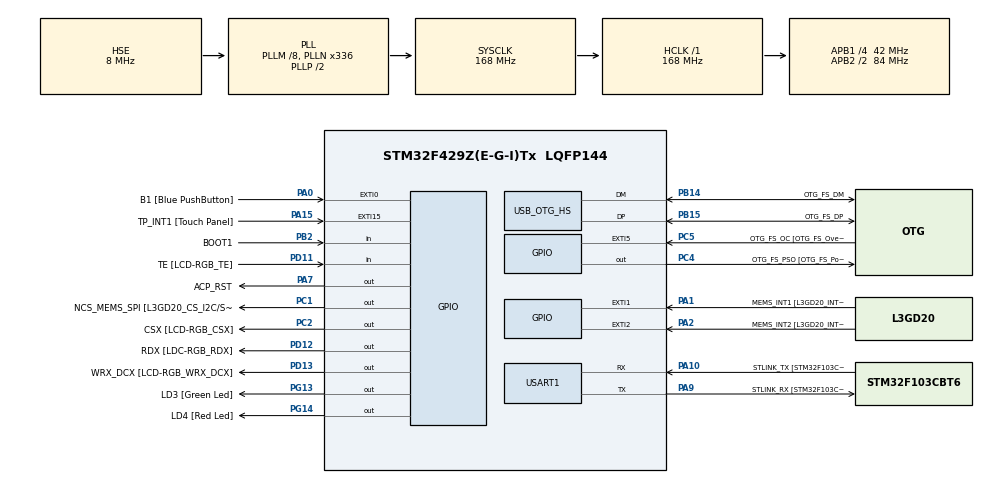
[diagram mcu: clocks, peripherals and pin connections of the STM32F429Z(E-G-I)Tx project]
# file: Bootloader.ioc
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Mcu.Family=STM32F4
Mcu.Name=STM32F429Z(E-G-I)Tx
Mcu.Package=LQFP144
NVIC.OTG_HS_IRQn=true\:0\:0\:false\:false\:true
NVIC.PriorityGroup=NVIC_PRIORITYGROUP_0
PA0/WKUP.GPIO_Label=B1 [Blue PushButton]
PA0/WKUP.GPIO_ModeDefaultEXTI=GPIO_MODE_EVT_RISING
PA0/WKUP.GPIO_PuPd=GPIO_NOPULL
PA0/WKUP.Signal=GPXTI0
PA1.GPIO_Label=MEMS_INT1 [L3GD20_INT1]
PA1.GPIO_ModeDefaultEXTI=GPIO_MODE_EVT_RISING
PA1.GPIO_PuPd=GPIO_NOPULL
PA1.Signal=GPXTI1
PA10.GPIO_Label=STLINK_TX [STM32F103CBT6_PA2]
PA10.Mode=Asynchronous
PA10.Signal=USART1_RX
PA11.GPIO_Label=R4
PA11.GPIO_Mode=GPIO_MODE_AF_PP
PA11.GPIO_PuPd=GPIO_NOPULL
PA11.GPIO_Speed=GPIO_SPEED_FREQ_LOW
PA11.Signal=LTDC_R4
PA12.GPIO_Label=R5
PA12.GPIO_Mode=GPIO_MODE_AF_PP
PA12.GPIO_PuPd=GPIO_NOPULL
PA12.GPIO_Speed=GPIO_SPEED_FREQ_LOW
PA12.Signal=LTDC_R5
PA13.GPIO_Label=SWDIO
PA13.Mode=Serial_Wire
PA13.Signal=SYS_JTMS-SWDIO
PA14.GPIO_Label=SWCLK
PA14.Mode=Serial_Wire
PA14.Signal=SYS_JTCK-SWCLK
PA15.GPIO_Label=TP_INT1 [Touch Panel]
PA15.GPIO_ModeDefaultEXTI=GPIO_MODE_EVT_RISING
PA15.GPIO_PuPd=GPIO_NOPULL
PA15.Signal=GPXTI15
PA2.GPIO_Label=MEMS_INT2 [L3GD20_INT2]
PA2.GPIO_ModeDefaultEXTI=GPIO_MODE_EVT_RISING
PA2.GPIO_PuPd=GPIO_NOPULL
PA2.Signal=GPXTI2
PA3.GPIO_Label=B5
PA3.GPIO_Mode=GPIO_MODE_AF_PP
PA3.GPIO_PuPd=GPIO_NOPULL
PA3.GPIO_Speed=GPIO_SPEED_FREQ_LOW
PA3.Signal=LTDC_B5
PA4.GPIO_Label=VSYNC
PA4.GPIO_Mode=GPIO_MODE_AF_PP
PA4.GPIO_PuPd=GPIO_NOPULL
PA4.GPIO_Speed=GPIO_SPEED_FREQ_LOW
PA4.Signal=LTDC_VSYNC
PA6.GPIO_Label=G2
PA6.GPIO_Mode=GPIO_MODE_AF_PP
PA6.GPIO_PuPd=GPIO_NOPULL
PA6.GPIO_Speed=GPIO_SPEED_FREQ_LOW
PA6.Signal=LTDC_G2
PA7.GPIO_Label=ACP_RST
PA7.GPIO_Mode=GPIO_MODE_OUTPUT_PP
PA7.GPIO_PuPd=GPIO_NOPULL
PA7.GPIO_Speed=GPIO_SPEED_FREQ_LOW
PA7.Signal=GPIO_Output
PA8.GPIO_Label=I2C3_SCL [ACP/RF_SCL]
PA8.GPIO_Mode=GPIO_MODE_AF_OD
PA8.GPIO_PuPd=GPIO_NOPULL
PA8.GPIO_Speed=GPIO_SPEED_FREQ_LOW
PA8.Signal=I2C3_SCL
PA9.GPIO_Label=STLINK_RX [STM32F103CBT6_PA3]
PA9.Mode=Asynchronous
PA9.Signal=USART1_TX
PB0.GPIO_Label=R3
PB0.GPIO_Mode=GPIO_MODE_AF_PP
PB0.GPIO_PuPd=GPIO_NOPULL
PB0.GPIO_Speed=GPIO_SPEED_FREQ_LOW
PB0.Signal=LTDC_R3
PB1.GPIO_Label=R6
PB1.GPIO_Mode=GPIO_MODE_AF_PP
PB1.GPIO_PuPd=GPIO_NOPULL
PB1.GPIO_Speed=GPIO_SPEED_FREQ_LOW
PB1.Signal=LTDC_R6
PB10.GPIO_Label=G4
PB10.GPIO_Mode=GPIO_MODE_AF_PP
PB10.GPIO_PuPd=GPIO_NOPULL
PB10.GPIO_Speed=GPIO_SPEED_FREQ_LOW
PB10.Signal=LTDC_G4
PB11.GPIO_Label=G5
PB11.GPIO_Mode=GPIO_MODE_AF_PP
PB11.GPIO_PuPd=GPIO_NOPULL
PB11.GPIO_Speed=GPIO_SPEED_FREQ_LOW
PB11.Signal=LTDC_G5
PB12.GPIO_Label=OTG_FS_ID
PB12.GPIO_Mode=GPIO_MODE_AF_PP
PB12.GPIO_PuPd=GPIO_NOPULL
PB12.GPIO_Speed=GPIO_SPEED_FREQ_LOW
PB12.Signal=USB_OTG_HS_ID
PB13.GPIO_Label=VBUS_FS
PB13.GPIO_Mode=GPIO_MODE_INPUT
PB13.GPIO_PuPd=GPIO_NOPULL
PB13.Signal=USB_OTG_HS_VBUS
PB14.GPIO_Label=OTG_FS_DM
PB14.GPIO_Mode=GPIO_MODE_AF_PP
PB14.GPIO_PuPd=GPIO_NOPULL
PB14.GPIO_Speed=GPIO_SPEED_FREQ_LOW
PB14.Mode=Host_FS
PB14.Signal=USB_OTG_HS_DM
PB15.GPIO_Label=OTG_FS_DP
PB15.GPIO_Mode=GPIO_MODE_AF_PP
PB15.GPIO_PuPd=GPIO_NOPULL
PB15.GPIO_Speed=GPIO_SPEED_FREQ_LOW
PB15.Mode=Host_FS
PB15.Signal=USB_OTG_HS_DP
PB2/BOOT1.GPIO_Label=BOOT1
PB2/BOOT1.GPIO_Mode=GPIO_MODE_INPUT
PB2/BOOT1.GPIO_PuPd=GPIO_NOPULL
PB2/BOOT1.Signal=GPIO_Input
PB5.GPIO_Label=SDCKE1
PB5.GPIO_Mode=GPIO_MODE_AF_PP
PB5.GPIO_PuPd=GPIO_NOPULL
PB5.GPIO_Speed=GPIO_SPEED_FREQ_VERY_HIGH
PB5.Signal=FMC_SDCKE1
PB6.GPIO_Label=SDNE1 [SDRAM_CS]
PB6.GPIO_Mode=GPIO_MODE_AF_PP
PB6.GPIO_PuPd=GPIO_NOPULL
PB6.GPIO_Speed=GPIO_SPEED_FREQ_VERY_HIGH
PB6.Signal=FMC_SDNE1
PB8.GPIO_Label=B6
PB8.GPIO_Mode=GPIO_MODE_AF_PP
PB8.GPIO_PuPd=GPIO_NOPULL
PB8.GPIO_Speed=GPIO_SPEED_FREQ_LOW
PB8.Signal=LTDC_B6
PB9.GPIO_Label=B7
PB9.GPIO_Mode=GPIO_MODE_AF_PP
PB9.GPIO_PuPd=GPIO_NOPULL
PB9.GPIO_Speed=GPIO_SPEED_FREQ_LOW
PB9.Signal=LTDC_B7
PC0.GPIO_Label=SDNWE
PC0.GPIO_Mode=GPIO_MODE_AF_PP
PC0.GPIO_PuPd=GPIO_NOPULL
PC0.GPIO_Speed=GPIO_SPEED_FREQ_VERY_HIGH
PC0.Signal=FMC_SDNWE
PC1.GPIO_Label=NCS_MEMS_SPI [L3GD20_CS_I2C/SPI]
PC1.GPIO_Mode=GPIO_MODE_OUTPUT_PP
PC1.GPIO_PuPd=GPIO_NOPULL
PC1.GPIO_Speed=GPIO_SPEED_FREQ_LOW
PC1.Signal=GPIO_Output
PC10.GPIO_Label=R2
PC10.GPIO_Mode=GPIO_MODE_AF_PP
PC10.GPIO_PuPd=GPIO_NOPULL
PC10.GPIO_Speed=GPIO_SPEED_FREQ_LOW
PC10.Signal=LTDC_R2
PC14/OSC32_IN.GPIO_Label=PC14-OSC32_IN
PC14/OSC32_IN.Signal=RCC_OSC32_IN
PC15/OSC32_OUT.GPIO_Label=PC15-OSC32_OUT
PC15/OSC32_OUT.Signal=RCC_OSC32_OUT
PC2.GPIO_Label=CSX [LCD-RGB_CSX]
PC2.GPIO_Mode=GPIO_MODE_OUTPUT_PP
PC2.GPIO_PuPd=GPIO_NOPULL
PC2.GPIO_Speed=GPIO_SPEED_FREQ_LOW
PC2.Signal=GPIO_Output
PC4.GPIO_Label=OTG_FS_PSO [OTG_FS_PowerSwitchOn]
PC4.GPIO_Mode=GPIO_MODE_OUTPUT_PP
PC4.GPIO_PuPd=GPIO_NOPULL
PC4.GPIO_Speed=GPIO_SPEED_FREQ_LOW
PC4.Signal=GPIO_Output
PC5.GPIO_Label=OTG_FS_OC [OTG_FS_OverCurrent]
PC5.GPIO_ModeDefaultEXTI=GPIO_MODE_EVT_RISING
PC5.Signal=GPXTI5
PC6.GPIO_Label=HSYNC
PC6.GPIO_Mode=GPIO_MODE_AF_PP
PC6.GPIO_PuPd=GPIO_NOPULL
PC6.GPIO_Speed=GPIO_SPEED_FREQ_LOW
PC6.Signal=LTDC_HSYNC
PC7.GPIO_Label=G6
PC7.GPIO_Mode=GPIO_MODE_AF_PP
PC7.GPIO_PuPd=GPIO_NOPULL
PC7.GPIO_Speed=GPIO_SPEED_FREQ_LOW
PC7.Signal=LTDC_G6
PC9.GPIO_Label=I2C3_SDA [ACP/RF_SDA]
PC9.GPIO_Mode=GPIO_MODE_AF_OD
PC9.GPIO_PuPd=GPIO_NOPULL
PC9.GPIO_Speed=GPIO_SPEED_FREQ_LOW
PC9.Signal=I2C3_SDA
PD0.GPIO_Label=D2
PD0.GPIO_Mode=GPIO_MODE_AF_PP
PD0.GPIO_PuPd=GPIO_NOPULL
PD0.GPIO_Speed=GPIO_SPEED_FREQ_VERY_HIGH
PD0.Signal=FMC_D2_DA2
PD1.GPIO_Label=D3
PD1.GPIO_Mode=GPIO_MODE_AF_PP
PD1.GPIO_PuPd=GPIO_NOPULL
PD1.GPIO_Speed=GPIO_SPEED_FREQ_VERY_HIGH
PD1.Signal=FMC_D3_DA3
PD10.GPIO_Label=D15
PD10.GPIO_Mode=GPIO_MODE_AF_PP
PD10.GPIO_PuPd=GPIO_NOPULL
PD10.GPIO_Speed=GPIO_SPEED_FREQ_VERY_HIGH
PD10.Signal=FMC_D15_DA15
PD11.GPIO_Label=TE [LCD-RGB_TE]
PD11.GPIO_Mode=GPIO_MODE_INPUT
PD11.GPIO_PuPd=GPIO_NOPULL
PD11.Signal=GPIO_Input
PD12.GPIO_Label=RDX [LDC-RGB_RDX]
PD12.GPIO_Mode=GPIO_MODE_OUTPUT_PP
PD12.GPIO_PuPd=GPIO_NOPULL
PD12.GPIO_Speed=GPIO_SPEED_FREQ_LOW
PD12.Signal=GPIO_Output
PD13.GPIO_Label=WRX_DCX [LCD-RGB_WRX_DCX]
PD13.GPIO_Mode=GPIO_MODE_OUTPUT_PP
PD13.GPIO_PuPd=GPIO_NOPULL
PD13.GPIO_Speed=GPIO_SPEED_FREQ_LOW
PD13.Signal=GPIO_Output
PD14.GPIO_Label=D0
PD14.GPIO_Mode=GPIO_MODE_AF_PP
PD14.GPIO_PuPd=GPIO_NOPULL
PD14.GPIO_Speed=GPIO_SPEED_FREQ_VERY_HIGH
PD14.Signal=FMC_D0_DA0
PD15.GPIO_Label=D1
PD15.GPIO_Mode=GPIO_MODE_AF_PP
PD15.GPIO_PuPd=GPIO_NOPULL
PD15.GPIO_Speed=GPIO_SPEED_FREQ_VERY_HIGH
PD15.Signal=FMC_D1_DA1
PD3.GPIO_Label=G7
PD3.GPIO_Mode=GPIO_MODE_AF_PP
PD3.GPIO_PuPd=GPIO_NOPULL
PD3.GPIO_Speed=GPIO_SPEED_FREQ_LOW
PD3.Signal=LTDC_G7
PD6.GPIO_Label=B2
PD6.GPIO_Mode=GPIO_MODE_AF_PP
PD6.GPIO_PuPd=GPIO_NOPULL
PD6.GPIO_Speed=GPIO_SPEED_FREQ_LOW
PD6.Signal=LTDC_B2
PD8.GPIO_Label=D13
PD8.GPIO_Mode=GPIO_MODE_AF_PP
PD8.GPIO_PuPd=GPIO_NOPULL
PD8.GPIO_Speed=GPIO_SPEED_FREQ_VERY_HIGH
PD8.Signal=FMC_D13_DA13
PD9.GPIO_Label=D14
PD9.GPIO_Mode=GPIO_MODE_AF_PP
PD9.GPIO_PuPd=GPIO_NOPULL
PD9.GPIO_Speed=GPIO_SPEED_FREQ_VERY_HIGH
PD9.Signal=FMC_D14_DA14
PE0.GPIO_Label=NBL0 [SDRAM_LDQM]
PE0.GPIO_Mode=GPIO_MODE_AF_PP
PE0.GPIO_PuPd=GPIO_NOPULL
PE0.GPIO_Speed=GPIO_SPEED_FREQ_VERY_HIGH
PE0.Signal=FMC_NBL0
PE1.GPIO_Label=NBL1 [SDRAM_UDQM]
PE1.GPIO_Mode=GPIO_MODE_AF_PP
PE1.GPIO_PuPd=GPIO_NOPULL
PE1.GPIO_Speed=GPIO_SPEED_FREQ_VERY_HIGH
PE1.Signal=FMC_NBL1
PE10.GPIO_Label=D7
PE10.GPIO_Mode=GPIO_MODE_AF_PP
PE10.GPIO_PuPd=GPIO_NOPULL
PE10.GPIO_Speed=GPIO_SPEED_FREQ_VERY_HIGH
PE10.Signal=FMC_D7_DA7
PE11.GPIO_Label=D8
PE11.GPIO_Mode=GPIO_MODE_AF_PP
PE11.GPIO_PuPd=GPIO_NOPULL
PE11.GPIO_Speed=GPIO_SPEED_FREQ_VERY_HIGH
PE11.Signal=FMC_D8_DA8
PE12.GPIO_Label=D9
PE12.GPIO_Mode=GPIO_MODE_AF_PP
PE12.GPIO_PuPd=GPIO_NOPULL
PE12.GPIO_Speed=GPIO_SPEED_FREQ_VERY_HIGH
PE12.Signal=FMC_D9_DA9
PE13.GPIO_Label=D10
PE13.GPIO_Mode=GPIO_MODE_AF_PP
PE13.GPIO_PuPd=GPIO_NOPULL
PE13.GPIO_Speed=GPIO_SPEED_FREQ_VERY_HIGH
PE13.Signal=FMC_D10_DA10
PE14.GPIO_Label=D11
PE14.GPIO_Mode=GPIO_MODE_AF_PP
PE14.GPIO_PuPd=GPIO_NOPULL
PE14.GPIO_Speed=GPIO_SPEED_FREQ_VERY_HIGH
PE14.Signal=FMC_D11_DA11
PE15.GPIO_Label=D12
PE15.GPIO_Mode=GPIO_MODE_AF_PP
PE15.GPIO_PuPd=GPIO_NOPULL
PE15.GPIO_Speed=GPIO_SPEED_FREQ_VERY_HIGH
PE15.Signal=FMC_D12_DA12
PE7.GPIO_Label=D4
PE7.GPIO_Mode=GPIO_MODE_AF_PP
PE7.GPIO_PuPd=GPIO_NOPULL
PE7.GPIO_Speed=GPIO_SPEED_FREQ_VERY_HIGH
PE7.Signal=FMC_D4_DA4
PE8.GPIO_Label=D5
PE8.GPIO_Mode=GPIO_MODE_AF_PP
PE8.GPIO_PuPd=GPIO_NOPULL
PE8.GPIO_Speed=GPIO_SPEED_FREQ_VERY_HIGH
PE8.Signal=FMC_D5_DA5
PE9.GPIO_Label=D6
PE9.GPIO_Mode=GPIO_MODE_AF_PP
PE9.GPIO_PuPd=GPIO_NOPULL
PE9.GPIO_Speed=GPIO_SPEED_FREQ_VERY_HIGH
PE9.Signal=FMC_D6_DA6
PF0.GPIO_Label=A0
PF0.GPIO_Mode=GPIO_MODE_AF_PP
PF0.GPIO_PuPd=GPIO_NOPULL
PF0.GPIO_Speed=GPIO_SPEED_FREQ_VERY_HIGH
PF0.Signal=FMC_A0
PF1.GPIO_Label=A1
PF1.GPIO_Mode=GPIO_MODE_AF_PP
PF1.GPIO_PuPd=GPIO_NOPULL
PF1.GPIO_Speed=GPIO_SPEED_FREQ_VERY_HIGH
PF1.Signal=FMC_A1
PF10.GPIO_Label=ENABLE [LCD-RGB_ENABLE]
PF10.GPIO_Mode=GPIO_MODE_AF_PP
PF10.GPIO_PuPd=GPIO_NOPULL
PF10.GPIO_Speed=GPIO_SPEED_FREQ_LOW
PF10.Signal=LTDC_DE
PF11.GPIO_Label=SDNRAS
PF11.GPIO_Mode=GPIO_MODE_AF_PP
PF11.GPIO_PuPd=GPIO_NOPULL
PF11.GPIO_Speed=GPIO_SPEED_FREQ_VERY_HIGH
PF11.Signal=FMC_SDNRAS
PF12.GPIO_Label=A6
PF12.GPIO_Mode=GPIO_MODE_AF_PP
PF12.GPIO_PuPd=GPIO_NOPULL
PF12.GPIO_Speed=GPIO_SPEED_FREQ_VERY_HIGH
PF12.Signal=FMC_A6
PF13.GPIO_Label=A7
PF13.GPIO_Mode=GPIO_MODE_AF_PP
PF13.GPIO_PuPd=GPIO_NOPULL
PF13.GPIO_Speed=GPIO_SPEED_FREQ_VERY_HIGH
PF13.Signal=FMC_A7
PF14.GPIO_Label=A8
PF14.GPIO_Mode=GPIO_MODE_AF_PP
PF14.GPIO_PuPd=GPIO_NOPULL
PF14.GPIO_Speed=GPIO_SPEED_FREQ_VERY_HIGH
PF14.Signal=FMC_A8
PF15.GPIO_Label=A9
PF15.GPIO_Mode=GPIO_MODE_AF_PP
PF15.GPIO_PuPd=GPIO_NOPULL
PF15.GPIO_Speed=GPIO_SPEED_FREQ_VERY_HIGH
PF15.Signal=FMC_A9
PF2.GPIO_Label=A2
PF2.GPIO_Mode=GPIO_MODE_AF_PP
PF2.GPIO_PuPd=GPIO_NOPULL
PF2.GPIO_Speed=GPIO_SPEED_FREQ_VERY_HIGH
PF2.Signal=FMC_A2
PF3.GPIO_Label=A3
PF3.GPIO_Mode=GPIO_MODE_AF_PP
PF3.GPIO_PuPd=GPIO_NOPULL
PF3.GPIO_Speed=GPIO_SPEED_FREQ_VERY_HIGH
PF3.Signal=FMC_A3
PF4.GPIO_Label=A4
PF4.GPIO_Mode=GPIO_MODE_AF_PP
PF4.GPIO_PuPd=GPIO_NOPULL
PF4.GPIO_Speed=GPIO_SPEED_FREQ_VERY_HIGH
PF4.Signal=FMC_A4
PF5.GPIO_Label=A5
PF5.GPIO_Mode=GPIO_MODE_AF_PP
PF5.GPIO_PuPd=GPIO_NOPULL
PF5.GPIO_Speed=GPIO_SPEED_FREQ_VERY_HIGH
PF5.Signal=FMC_A5
PF7.GPIO_Label=SPI5_SCK [L3GD20_SCL/SPC]
PF7.GPIO_Mode=GPIO_MODE_AF_PP
PF7.GPIO_PuPd=GPIO_NOPULL
PF7.GPIO_Speed=GPIO_SPEED_FREQ_LOW
PF7.Signal=SPI5_SCK
PF8.GPIO_Label=SPI5_MISO [L3GD20_SDO]
PF8.GPIO_Mode=GPIO_MODE_AF_PP
PF8.GPIO_PuPd=GPIO_NOPULL
PF8.GPIO_Speed=GPIO_SPEED_FREQ_LOW
PF8.Signal=SPI5_MISO
PF9.GPIO_Label=SPI5_MOSI [L3GD20_SDA/SDI/SDO]
PF9.GPIO_Mode=GPIO_MODE_AF_PP
PF9.GPIO_PuPd=GPIO_NOPULL
PF9.GPIO_Speed=GPIO_SPEED_FREQ_LOW
PF9.Signal=SPI5_MOSI
PG0.GPIO_Label=A10
PG0.GPIO_Mode=GPIO_MODE_AF_PP
PG0.GPIO_PuPd=GPIO_NOPULL
PG0.GPIO_Speed=GPIO_SPEED_FREQ_VERY_HIGH
PG0.Signal=FMC_A10
PG1.GPIO_Label=A11
PG1.GPIO_Mode=GPIO_MODE_AF_PP
PG1.GPIO_PuPd=GPIO_NOPULL
PG1.GPIO_Speed=GPIO_SPEED_FREQ_VERY_HIGH
PG1.Signal=FMC_A11
PG10.GPIO_Label=G3
PG10.GPIO_Mode=GPIO_MODE_AF_PP
PG10.GPIO_PuPd=GPIO_NOPULL
PG10.GPIO_Speed=GPIO_SPEED_FREQ_LOW
PG10.Signal=LTDC_G3
PG11.GPIO_Label=B3
PG11.GPIO_Mode=GPIO_MODE_AF_PP
PG11.GPIO_PuPd=GPIO_NOPULL
PG11.GPIO_Speed=GPIO_SPEED_FREQ_LOW
PG11.Signal=LTDC_B3
PG12.GPIO_Label=B4
PG12.GPIO_Mode=GPIO_MODE_AF_PP
PG12.GPIO_PuPd=GPIO_NOPULL
PG12.GPIO_Speed=GPIO_SPEED_FREQ_LOW
PG12.Signal=LTDC_B4
PG13.GPIO_Label=LD3 [Green Led]
PG13.GPIO_Mode=GPIO_MODE_OUTPUT_PP
PG13.GPIO_PuPd=GPIO_NOPULL
PG13.GPIO_Speed=GPIO_SPEED_FREQ_LOW
PG13.Signal=GPIO_Output
PG14.GPIO_Label=LD4 [Red Led]
PG14.GPIO_Mode=GPIO_MODE_OUTPUT_PP
PG14.GPIO_PuPd=GPIO_NOPULL
PG14.GPIO_Speed=GPIO_SPEED_FREQ_LOW
PG14.Signal=GPIO_Output
PG15.GPIO_Label=SDNCAS
PG15.GPIO_Mode=GPIO_MODE_AF_PP
PG15.GPIO_PuPd=GPIO_NOPULL
PG15.GPIO_Speed=GPIO_SPEED_FREQ_VERY_HIGH
PG15.Signal=FMC_SDNCAS
PG4.GPIO_Label=BA0
PG4.GPIO_Mode=GPIO_MODE_AF_PP
PG4.GPIO_PuPd=GPIO_NOPULL
PG4.GPIO_Speed=GPIO_SPEED_FREQ_VERY_HIGH
PG4.Signal=FMC_A14_BA0
PG5.GPIO_Label=BA1
PG5.GPIO_Mode=GPIO_MODE_AF_PP
PG5.GPIO_PuPd=GPIO_NOPULL
PG5.GPIO_Speed=GPIO_SPEED_FREQ_VERY_HIGH
PG5.Signal=FMC_A15_BA1
PG6.GPIO_Label=R7
PG6.GPIO_Mode=GPIO_MODE_AF_PP
PG6.GPIO_PuPd=GPIO_NOPULL
PG6.GPIO_Speed=GPIO_SPEED_FREQ_LOW
PG6.Signal=LTDC_R7
PG7.GPIO_Label=DOTCLK [LCT-RGB_DOTCLK]
PG7.GPIO_Mode=GPIO_MODE_AF_PP
PG7.GPIO_PuPd=GPIO_NOPULL
PG7.GPIO_Speed=GPIO_SPEED_FREQ_LOW
PG7.Signal=LTDC_CLK
PG8.GPIO_Label=SDCLK
PG8.GPIO_Mode=GPIO_MODE_AF_PP
PG8.GPIO_PuPd=GPIO_NOPULL
PG8.GPIO_Speed=GPIO_SPEED_FREQ_VERY_HIGH
PG8.Signal=FMC_SDCLK
PH0/OSC_IN.GPIO_Label=PH0-OSC_IN
PH0/OSC_IN.Mode=HSE-External-Oscillator
PH0/OSC_IN.Signal=RCC_OSC_IN
PH1/OSC_OUT.GPIO_Label=PH1-OSC_OUT
PH1/OSC_OUT.Mode=HSE-External-Oscillator
PH1/OSC_OUT.Signal=RCC_OSC_OUT
ProjectManager.HeapSize=0x2000
ProjectManager.StackSize=0x4000
ProjectManager.TargetToolchain=MDK-ARM V5
RCC.48MHZClocksFreq_Value=48000000
RCC.AHBFreq_Value=168000000
RCC.APB1CLKDivider=RCC_HCLK_DIV4
RCC.APB1Freq_Value=42000000
RCC.APB1TimFreq_Value=84000000
RCC.APB2CLKDivider=RCC_HCLK_DIV2
RCC.APB2Freq_Value=84000000
RCC.APB2TimFreq_Value=168000000
RCC.CortexFreq_Value=168000000
RCC.EnbaleCSS=true
RCC.HCLKFreq_Value=168000000
RCC.HSE_VALUE=8000000
RCC.HSI_VALUE=16000000
RCC.LSE_VALUE=32768
RCC.PLLM=8
RCC.PLLN=336
RCC.PLLQ=7
RCC.SYSCLKFreq_VALUE=168000000
RCC.SYSCLKSource=RCC_SYSCLKSOURCE_PLLCLK
RCC.VCOOutputFreq_Value=336000000
SH.FMC_A0.0=FMC_A0
SH.FMC_A1.0=FMC_A1
SH.FMC_A10.0=FMC_A10
SH.FMC_A11.0=FMC_A11
SH.FMC_A14_BA0.0=FMC_BA0
SH.FMC_A15_BA1.0=FMC_BA1
SH.FMC_A2.0=FMC_A2
SH.FMC_A3.0=FMC_A3
SH.FMC_A4.0=FMC_A4
SH.FMC_A5.0=FMC_A5
SH.FMC_A6.0=FMC_A6
SH.FMC_A7.0=FMC_A7
SH.FMC_A8.0=FMC_A8
SH.FMC_A9.0=FMC_A9
SH.FMC_D0_DA0.0=FMC_D0
SH.FMC_D10_DA10.0=FMC_D10
SH.FMC_D11_DA11.0=FMC_D11
SH.FMC_D12_DA12.0=FMC_D12
SH.FMC_D13_DA13.0=FMC_D13
SH.FMC_D14_DA14.0=FMC_D14
SH.FMC_D15_DA15.0=FMC_D15
SH.FMC_D1_DA1.0=FMC_D1
SH.FMC_D2_DA2.0=FMC_D2
SH.FMC_D3_DA3.0=FMC_D3
SH.FMC_D4_DA4.0=FMC_D4
SH.FMC_D5_DA5.0=FMC_D5
SH.FMC_D6_DA6.0=FMC_D6
SH.FMC_D7_DA7.0=FMC_D7
SH.FMC_D8_DA8.0=FMC_D8
SH.FMC_D9_DA9.0=FMC_D9
SH.FMC_NBL0.0=FMC_NBL0
SH.FMC_NBL1.0=FMC_NBL1
SH.FMC_SDCLK.0=FMC_SDCLK
SH.FMC_SDNCAS.0=FMC_SDNCAS
SH.FMC_SDNRAS.0=FMC_SDNRAS
SH.FMC_SDNWE.0=FMC_SDNWE
USART1.VirtualMode=VM_ASYNC
USB_HOST.USBH_HandleTypeDef-MSC_HS=hUsbHostHS
USB_HOST.VirtualModeHS=Msc
USB_OTG_HS.VirtualMode-Host_FS=Host_FS
VP_FATFS_VS_USB.Mode=USB
VP_USB_HOST_VS_USB_HOST_MSC_HS.Mode=MSC_HS
board=STM32F429I-DISC1

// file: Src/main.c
/**
  ******************************************************************************
  * File Name          : main.c
  * Description        : Main program body
  ******************************************************************************
  *
  * Copyright (c) 2017 STMicroelectronics International N.V.
  * All rights reserved.
  *
  * Redistribution and use in source and binary forms, with or without
  * modification, are permitted, provided that the following conditions are met:
  *
  * 1. Redistribution of source code must retain the above copyright notice,
  *    this list of conditions and the following disclaimer.
  * 2. Redistributions in binary form must reproduce the above copyright notice,
  *    this list of conditions and the following disclaimer in the documentation
  *    and/or other materials provided with the distribution.
  * 3. Neither the name of STMicroelectronics nor the names of other
  *    contributors to this software may be used to endorse or promote products
  *    derived from this software without specific written permission.
  * 4. This software, including modifications and/or derivative works of this
  *    software, must execute solely and exclusively on microcontroller or
  *    microprocessor devices manufactured by or for STMicroelectronics.
  * 5. Redistribution and use of this software other than as permitted under
  *    this license is void and will automatically terminate your rights under
  *    this license.
  *
  * THIS SOFTWARE IS PROVIDED BY STMICROELECTRONICS AND CONTRIBUTORS "AS IS"
  * AND ANY EXPRESS, IMPLIED OR STATUTORY WARRANTIES, INCLUDING, BUT NOT
  * LIMITED TO, THE IMPLIED WARRANTIES OF MERCHANTABILITY, FITNESS FOR A
  * PARTICULAR PURPOSE AND NON-INFRINGEMENT OF THIRD PARTY INTELLECTUAL PROPERTY
  * RIGHTS ARE DISCLAIMED TO THE FULLEST EXTENT PERMITTED BY LAW. IN NO EVENT
  * SHALL STMICROELECTRONICS OR CONTRIBUTORS BE LIABLE FOR ANY DIRECT, INDIRECT,
  * INCIDENTAL, SPECIAL, EXEMPLARY, OR CONSEQUENTIAL DAMAGES (INCLUDING, BUT NOT
  * LIMITED TO, PROCUREMENT OF SUBSTITUTE GOODS OR SERVICES; LOSS OF USE, DATA,
  * OR PROFITS; OR BUSINESS INTERRUPTION) HOWEVER CAUSED AND ON ANY THEORY OF
  * LIABILITY, WHETHER IN CONTRACT, STRICT LIABILITY, OR TORT (INCLUDING
  * NEGLIGENCE OR OTHERWISE) ARISING IN ANY WAY OUT OF THE USE OF THIS SOFTWARE,
  * EVEN IF ADVISED OF THE POSSIBILITY OF SUCH DAMAGE.
  *
  ******************************************************************************
  */
#include "main.h"
#include "stm32f4xx_hal.h"
#include "fatfs.h"
#include "usart.h"
#include "usb_host.h"
#include "gpio.h"

/* USER CODE BEGIN Includes */
#include "flash_if.h"
/* USER CODE END Includes */

/* USER CODE BEGIN PV */
#define DOWNLOAD_FILENAME          "update.bin"

FATFS USBDISKFatFs;           /* File system object for USB disk logical drive */
FIL MyFile;                   /* File object */
extern ApplicationTypeDef Appli_state;
uint8_t test=0;

typedef  void (*pFunction)(void);
pFunction JumpToApplication;
uint32_t JumpAddress;
/* Private variables ---------------------------------------------------------*/
/* USER CODE END PV */

void SystemClock_Config(void);
void Error_Handler(void);
void MX_USB_HOST_Process(void);

/* USER CODE BEGIN PFP */
/* Private function prototypes -----------------------------------------------*/
static void IAP_Application(void);
static void ProgramFlashMemory(void);
/* USER CODE END PFP */

/* USER CODE BEGIN 0 */
int fputc(int ch, FILE *f) {
// redirect STDOUT
  /* Write a character to the USART */
  extern UART_HandleTypeDef huart1;

  HAL_UART_Transmit(&huart1, (uint8_t *)&ch, 1, 300);

  return (ch);
}
/* USER CODE END 0 */

int main(void)
{

  /* MCU Configuration----------------------------------------------------------*/

  /* Reset of all peripherals, Initializes the Flash interface and the Systick. */
  HAL_Init();

  /* Configure the system clock */
  SystemClock_Config();

  /* Initialize all configured peripherals */
  MX_GPIO_Init();
  MX_USART1_UART_Init();
  MX_USB_HOST_Init();
  MX_FATFS_Init();

  /* Infinite loop */
  /* USER CODE BEGIN WHILE */
	FLASH_If_FlashUnlock();
	if (HAL_GPIO_ReadPin(GPIOA,GPIO_PIN_0) == GPIO_PIN_RESET)
  {
		printf("go to application\r\n");
		if (((*(__IO uint32_t*)APPLICATION_ADDRESS) & 0x2FFE0000 ) == 0x20000000)
    {
      /* Jump to user application */
      JumpAddress = *(__IO uint32_t*)(APPLICATION_ADDRESS + 4);
      JumpToApplication = (pFunction) JumpAddress;
      /* Initialize user application's Stack Pointer */
      __set_MSP(*(__IO uint32_t*) APPLICATION_ADDRESS);
      JumpToApplication();
    }
		while(1){
		}

	}
  while (1)
  {
  /* USER CODE END WHILE */
    MX_USB_HOST_Process();

  /* USER CODE BEGIN 3 */
		switch(Appli_state)
		{
			case APPLICATION_IDLE:

				break;
			case APPLICATION_START:
				Appli_state = APPLICATION_IDLE;
				break;
			case APPLICATION_READY:
				//就绪之后进入升级程序
				printf("go to update\r\n");
				IAP_Application();
				break;
			case APPLICATION_DISCONNECT:

				break;

		}

  }
  /* USER CODE END 3 */

}

/** System Clock Configuration
*/
void SystemClock_Config(void)
{

  RCC_OscInitTypeDef RCC_OscInitStruct;
  RCC_ClkInitTypeDef RCC_ClkInitStruct;

    /**Configure the main internal regulator output voltage
    */
  __HAL_RCC_PWR_CLK_ENABLE();

  __HAL_PWR_VOLTAGESCALING_CONFIG(PWR_REGULATOR_VOLTAGE_SCALE1);

    /**Initializes the CPU, AHB and APB busses clocks
    */
  RCC_OscInitStruct.OscillatorType = RCC_OSCILLATORTYPE_HSE;
  RCC_OscInitStruct.HSEState = RCC_HSE_ON;
  RCC_OscInitStruct.PLL.PLLState = RCC_PLL_ON;
  RCC_OscInitStruct.PLL.PLLSource = RCC_PLLSOURCE_HSE;
  RCC_OscInitStruct.PLL.PLLM = 8;
  RCC_OscInitStruct.PLL.PLLN = 336;
  RCC_OscInitStruct.PLL.PLLP = RCC_PLLP_DIV2;
  RCC_OscInitStruct.PLL.PLLQ = 7;
  if (HAL_RCC_OscConfig(&RCC_OscInitStruct) != HAL_OK)
  {
    Error_Handler();
  }

    /**Initializes the CPU, AHB and APB busses clocks
    */
  RCC_ClkInitStruct.ClockType = RCC_CLOCKTYPE_HCLK|RCC_CLOCKTYPE_SYSCLK
                              |RCC_CLOCKTYPE_PCLK1|RCC_CLOCKTYPE_PCLK2;
  RCC_ClkInitStruct.SYSCLKSource = RCC_SYSCLKSOURCE_PLLCLK;
  RCC_ClkInitStruct.AHBCLKDivider = RCC_SYSCLK_DIV1;
  RCC_ClkInitStruct.APB1CLKDivider = RCC_HCLK_DIV4;
  RCC_ClkInitStruct.APB2CLKDivider = RCC_HCLK_DIV2;

  if (HAL_RCC_ClockConfig(&RCC_ClkInitStruct, FLASH_LATENCY_5) != HAL_OK)
  {
    Error_Handler();
  }

    /**Enables the Clock Security System
    */
  HAL_RCC_EnableCSS();

    /**Configure the Systick interrupt time
    */
  HAL_SYSTICK_Config(HAL_RCC_GetHCLKFreq()/1000);

    /**Configure the Systick
    */
  HAL_SYSTICK_CLKSourceConfig(SYSTICK_CLKSOURCE_HCLK);

  /* SysTick_IRQn interrupt configuration */
  HAL_NVIC_SetPriority(SysTick_IRQn, 0, 0);
}

/* USER CODE BEGIN 4 */
static void IAP_Application(void)
{
	printf("IAP start ... \r\n");
  /* Register the file system object to the FatFs module */
  if(f_mount(&USBDISKFatFs, (TCHAR const*)USBH_Path, 0) != FR_OK)
  {
    /* FatFs Initialization Error */
		printf("mount usb	fail	\r\n");
    Error_Handler();
  }
  else
  {
      /* Create and Open a new text file object with write access */
      if(f_open(&MyFile,DOWNLOAD_FILENAME, FA_OPEN_EXISTING | FA_READ) != FR_OK)
      {
        /* 'update.bin' file Open for read Error */
				printf("file update open fail	\r\n");
        Error_Handler();
      }else{
			//打开文件成功，开始升级过程
			if(FLASH_If_EraseSectors(APPLICATION_ADDRESS) != 0x00)
      {
				printf("flash erase fail	\r\n");
        /* Flash erase error infinite loop */
        Error_Handler();
      }
			printf("program start\r\n");
			ProgramFlashMemory();
			f_close(&MyFile);
			printf("IAP complete	\r\n");
    }
  }
  /* Unlink the USB disk I/O driver */
  FATFS_UnLinkDriver(USBH_Path);
	while(1){

	}
}
/****************************update.bin烧写************************************************/
#define BUFFER_SIZE        ((uint16_t)512*64)
static uint32_t TmpProgramCounter = 0x00;
static uint32_t TmpReadSize = 0x00;
static uint32_t RamAddress = 0x00;
static __IO uint32_t LastPGAddress = APPLICATION_ADDRESS;
static uint8_t RAM_Buf[BUFFER_SIZE] = {0x00};
static void ProgramFlashMemory(void)
{
  uint32_t programcounter = 0x00;
  uint8_t readflag = TRUE;
  uint16_t bytesread;

  /* RAM Address Initialization */
  RamAddress = (uint32_t) &RAM_Buf;

  /* Erase address init */
  LastPGAddress = APPLICATION_ADDRESS;

  /* While file still contain data */
  while (readflag == TRUE)
  {
    /* Read maximum 512 Kbyte from the selected file */
    readflag =f_read (&MyFile, RAM_Buf, BUFFER_SIZE, (void *)&bytesread);

    /* Temp variable */
    TmpReadSize = bytesread;

    /* The read data < "BUFFER_SIZE" Kbyte */
    if(TmpReadSize < BUFFER_SIZE)
    {
      readflag = FALSE;
    }

    /* Program flash memory */
    for(programcounter = TmpReadSize; programcounter != 0; programcounter -= 4)
    {
      TmpProgramCounter = programcounter;
      /* Write word into flash memory */
      if( FLASH_If_Write((LastPGAddress- TmpProgramCounter + TmpReadSize),*(uint32_t *)(RamAddress - programcounter + TmpReadSize )) != 0x00)
      {
        /* Flash programming error infinite loop */
				Error_Handler();
      }
			printf("program ...\r\n");
    }
    /* Update last programmed address value */
    LastPGAddress = LastPGAddress + TmpReadSize;
  }
		printf("program complete\r\n");
}

/* USER CODE END 4 */

void Error_Handler(void)
{
  while(1)
  {
  }
}

/************************ (C) COPYRIGHT STMicroelectronics *****END OF FILE****/
